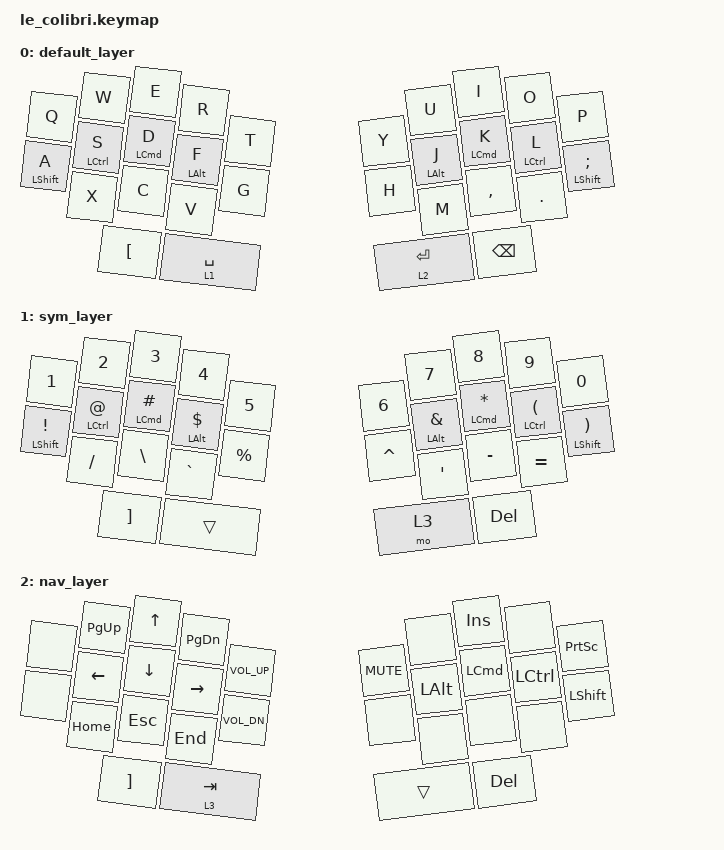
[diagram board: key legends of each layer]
/*
 * Copyright (c) 2024 Travis Mick
 *
 * SPDX-License-Identifier: MIT
 */

#include <behaviors.dtsi>
#include <dt-bindings/zmk/keys.h>
#include <dt-bindings/zmk/bt.h>
#include <dt-bindings/zmk/outputs.h>

&mt {
    flavor = "balanced";
    tapping-term-ms = <200>;
};

&lt {
    flavor = "balanced";
    tapping-term-ms = <200>;
};

/ {
    keymap {
        compatible = "zmk,keymap";

        default_layer {
            bindings = <
                      &kp Q          &kp W        &kp E         &kp R         &kp T                       &kp Y        &kp U         &kp I         &kp O          &kp P   
                      &mt LSHFT A    &mt LCTRL S  &mt LCMD D    &mt LALT F    &kp G                       &kp H        &mt LALT J    &mt LCMD K    &mt LCTRL L    &mt LSHFT SEMI
                                     &kp X        &kp C         &kp V                                                  &kp M         &kp COMMA     &kp DOT
                                                      &kp LBKT      &lt 1 SPACE                              &lt 2 ENTER  &kp BSPC
            >;
        };

        sym_layer {
            bindings = <
                      &kp N1         &kp N2       &kp N3        &kp N4        &kp N5                      &kp N6       &kp N7        &kp N8        &kp N9         &kp N0   
                      &mt LSHFT EXCL &mt LCTRL AT &mt LCMD HASH &mt LALT DLLR &kp PRCNT                   &kp CARET    &mt LALT AMPS &mt LCMD STAR &mt LCTRL LPAR &mt LSHFT RPAR
                                     &kp FSLH     &kp BSLH      &kp GRAVE                                              &kp APOS      &kp MINUS     &kp EQUAL
                                                        &kp RBKT      &trans                                       &mo 3        &kp DEL
            >;
        };

        nav_layer {
            bindings = <
                      &none          &kp PG_UP    &kp UP        &kp PG_DN     &kp C_VOL_UP                &kp C_MUTE   &none         &kp INS       &none          &kp PSCRN
                      &none          &kp LEFT     &kp DOWN      &kp RIGHT     &kp C_VOL_DN                &none        &kp LALT      &kp LCMD      &kp LCTRL      &kp LSHFT
                                     &kp HOME     &kp ESC       &kp END                                                &none         &none         &none
                                                       &kp RBKT      &lt 3 TAB                                   &trans       &kp DEL
            >;
        };

    };
};

/ {
    combos {
        compatible = "zmk,combos";
        combo_z {
            timeout-ms = <50>;
            key-positions = <20 21>;
            bindings = <&kp Z>;
        };
        combo_b {
            timeout-ms = <50>;
            key-positions = <21 22>;
            bindings = <&kp B>;
        };
        combo_n {
            timeout-ms = <50>;
            key-positions = <23 24>;
            bindings = <&kp N>;
        };
    };
};
